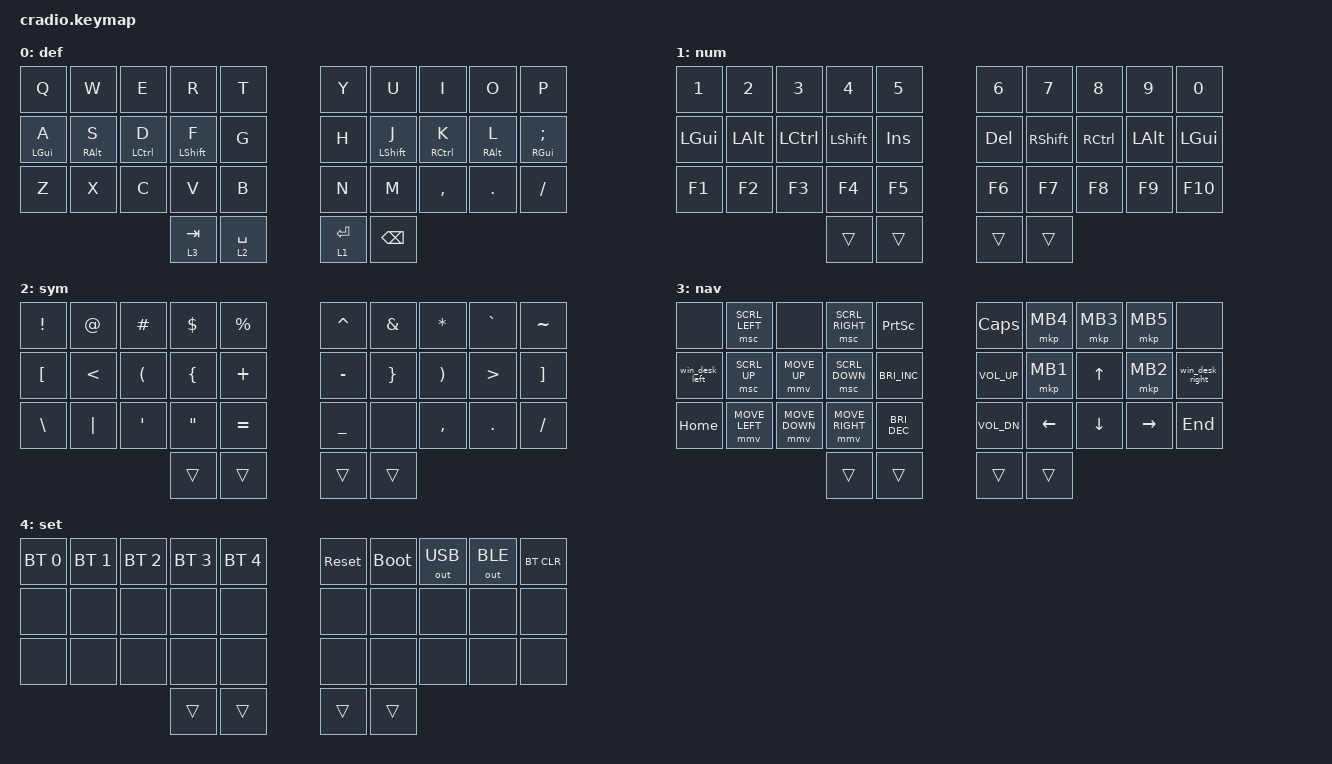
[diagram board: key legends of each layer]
// Copyright (c) 2022 The ZMK Contributors
// SPDX-License-Identifier: MIT

#define ZMK_POINTING_DEFAULT_MOVE_VAL 1500
#define ZMK_POINTING_DEFAULT_SCRL_VAL 20

#include <behaviors.dtsi>
#include <dt-bindings/zmk/bt.h>
#include <dt-bindings/zmk/keys.h>
#include <dt-bindings/zmk/outputs.h>
#include <dt-bindings/zmk/pointing.h>

#define DEF 0
#define FUN 1
#define SYM 2
#define NAV 3
#define NUM 4
#define MOUSE

/ {
    behaviors {
        ht: hold_tap {
            label = "hold_tap";
            compatible = "zmk,behavior-hold-tap";
            #binding-cells = <2>;
            flavor = "balanced";
            tapping-term-ms = <200>;
            quick-tap-ms = <150>;
            global-quick-tap;
            bindings = <&kp>, <&kp>;
        };

        mmv {
            acceleration-exponent = <3>;
            time-to-max-speed-ms = <600>;
            delay-ms = <0>;
        };

        msc {
            acceleration-exponent = <0>;
            time-to-max-speed-ms = <40>;
            delay-ms = <0>;
        };
    };

    combos {
        compatible = "zmk,combos";

        esc {
            bindings = <&kp ESCAPE>;
            key-positions = <31 32>;
            layers = <0 1 2 3 4>;
        };

        tog_nav {
            bindings = <&tog 3>;
            key-positions = <30 33>;
            layers = <0 1 2 3 4>;
        };

        f12 {
            bindings = <&kp F12>;
            key-positions = <29 28>;
            layers = <1>;
        };

        f11 {
            bindings = <&kp F11>;
            key-positions = <20 21>;
            layers = <1>;
        };

        set_layer {
            bindings = <&tog 4>;
            key-positions = <20 29>;
            layers = <0>;
        };
    };

    macros {
        win_desk_left: win_desk_left {
            compatible = "zmk,behavior-macro";
            #binding-cells = <0>;
            bindings = <&kp LG(LC(LEFT))>;
            label = "WIN_DESK_LEFT";
        };

        win_desk_right: win_desl_right {
            compatible = "zmk,behavior-macro";
            #binding-cells = <0>;
            bindings = <&kp LG(LC(RIGHT))>;
            label = "WIN_DESL_RIGHT";
        };

        mac_desk_left: mac_desk_left {
            compatible = "zmk,behavior-macro";
            #binding-cells = <0>;
            bindings = <&kp LC(LEFT)>;
            label = "MAC_DESK_LEFT";
        };

        mac_desk_right: mac_desk_right {
            compatible = "zmk,behavior-macro";
            #binding-cells = <0>;
            bindings = <&kp LC(RIGHT)>;
            label = "MAC_DESK_RIGHT";
        };
    };

    keymap {
        compatible = "zmk,keymap";

        def {
            bindings = <
&kp Q       &kp W       &kp E        &kp R         &kp T          &kp Y        &kp U          &kp I        &kp O       &kp P
&ht LGUI A  &ht RALT S  &ht LCTRL D  &ht LSHIFT F  &kp G          &kp H        &ht LSHIFT J   &ht RCTRL K  &ht RALT L  &ht RIGHT_GUI SEMICOLON
&kp Z       &kp X       &kp C        &kp V         &kp B          &kp N        &kp M          &kp COMMA    &kp DOT     &kp FSLH
                                     &lt 3 TAB     &lt 2 SPACE    &lt 1 ENTER  &kp BACKSPACE
            >;
        };

        num {
            bindings = <
&kp NUMBER_1  &kp NUMBER_2  &kp N3     &kp N4     &kp N5     &kp N6   &kp N7     &kp N8     &kp N9    &kp N0
&kp LGUI      &kp LALT      &kp LCTRL  &kp LSHFT  &kp INS    &kp DEL  &kp RSHFT  &kp RCTRL  &kp LALT  &kp LGUI
&kp F1        &kp F2        &kp F3     &kp F4     &kp F5     &kp F6   &kp F7     &kp F8     &kp F9    &kp F10
                                       &trans     &trans     &trans   &trans
            >;
        };

        sym {
            bindings = <
&kp EXCL  &kp AT    &kp HASH          &kp DLLR           &kp PRCNT    &kp CARET  &kp AMPS  &kp ASTRK  &kp GRAVE  &kp TILDE
&kp LBKT  &kp LT    &kp LPAR          &kp LBRC           &kp PLUS     &kp MINUS  &kp RBRC  &kp RPAR   &kp GT     &kp RBKT
&kp BSLH  &kp PIPE  &kp SINGLE_QUOTE  &kp DOUBLE_QUOTES  &kp EQUAL    &kp UNDER  &none     &kp COMMA  &kp DOT    &kp FSLH
                                      &trans             &trans       &trans     &trans
            >;
        };

        nav {
            bindings = <
&none           &msc SCRL_LEFT  &none           &msc SCRL_RIGHT  &kp PRINTSCREEN         &kp CAPSLOCK     &mkp MB4  &mkp MB3  &mkp MB5   &none
&win_desk_left  &msc SCRL_UP    &mmv MOVE_UP    &msc SCRL_DOWN   &kp C_BRIGHTNESS_INC    &kp C_VOLUME_UP  &mkp MB1  &kp UP    &mkp MB2   &win_desk_right
&kp HOME        &mmv MOVE_LEFT  &mmv MOVE_DOWN  &mmv MOVE_RIGHT  &kp C_BRIGHTNESS_DEC    &kp C_VOL_DN     &kp LEFT  &kp DOWN  &kp RIGHT  &kp END
                                                &trans           &trans                  &trans           &trans
            >;
        };

        set {
            bindings = <
&bt BT_SEL 0  &bt BT_SEL 1  &bt BT_SEL 2  &bt BT_SEL 3  &bt BT_SEL 4    &sys_reset  &bootloader  &out OUT_USB  &out OUT_BLE  &bt BT_CLR
&none         &none         &none         &none         &none           &none       &none        &none         &none         &none
&none         &none         &none         &none         &none           &none       &none        &none         &none         &none
                                          &trans        &trans          &trans      &trans
            >;
        };
    };
};
